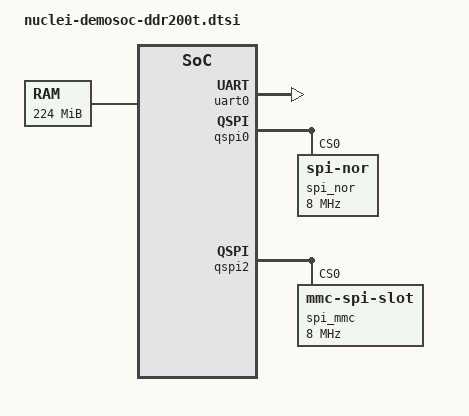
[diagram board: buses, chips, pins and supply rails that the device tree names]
// SPDX-License-Identifier: (GPL-2.0 OR MIT)
/* Copyright (c) 2022 Nuclei System Technology */

/ {
	aliases {
		serial0 = &uart0;
	};

	chosen {
		stdout-path = "serial0:115200n8";
	};

	memory@a0000000 {
		device_type = "memory";
		reg = <0xa0000000 0xe000000>;
	};
};

&uart0 {
	status = "okay";
};

&qspi0 {
	status = "okay";

	spi_nor: flash@0 {
		compatible = "jedec,spi-nor";
		reg = <0>;
		spi-max-frequency = <8000000>;
	};
};

&qspi2 {
	status = "okay";

	spi_mmc: mmc@0 {
		compatible = "mmc-spi-slot";
		reg = <0>;
		spi-max-frequency = <8000000>;
	};
};
